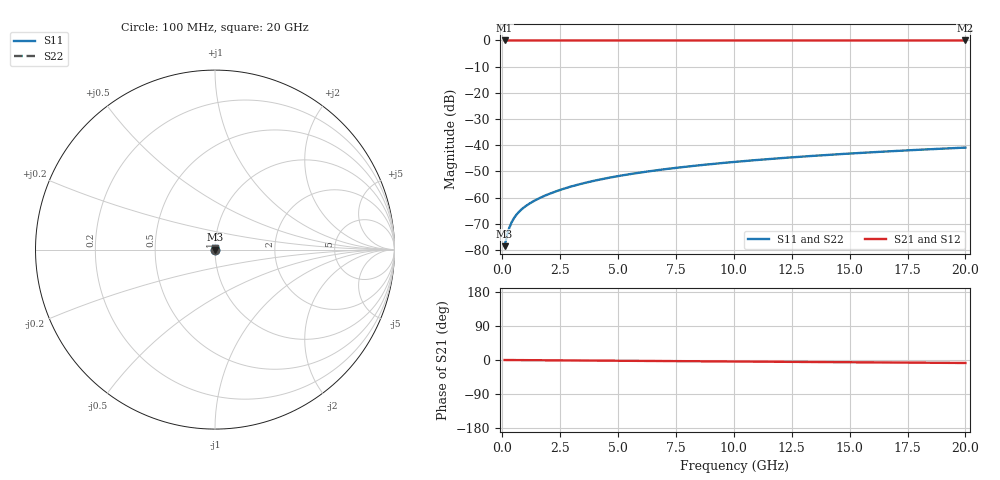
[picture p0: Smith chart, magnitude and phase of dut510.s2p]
! Touchstone file exported from HFSS 2026.1.0
!  File:  C:/ffzhzh/LocalFiles/Ansys_Project_Files/temp_train_TSV_510_1783023273_53980.aedt
!  Generated:  04:16:21 AM Jul  3, 2026
!  Design:  TSV
!  Project:  temp_train_TSV_510_1783023273_53980
! Variables:
!  h_bsmrdl = 2um
!  h_ox = 20um
!  h_rdl = 5um
!  h_sub = 75.7um
!  h_tmrdl = 5um
!  h_tsv = 75.7um
!  h_via = 3um
!  l_bsmrdl = 300um
!  l_sub = 425.48um
!  l_tmrdl = 200um
!  m_sub = 200um
!  pitch = 54.38um
!  r_tsv = 12.74um
!  s_tmrdl = 10um
!  w_bsmrdl = 18um
!  w_sub = 500um
!  w_tmrdl = 12um
!  x_tsv_center1 = 206um
!  x_tsv_center2 = 524um
!  x_tsv_center3 = 736um
!  x_tsv_center4 = 1054um
!  x_tsv_center5 = 1266um
!  x_tsv_center6 = 1584um
# GHz S MA R 50.000000
! Terminal data exported
! Port[1] = TSV1_1_T1
! Port[2] = TSV1_1_T2
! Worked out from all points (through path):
!   200 points, 100 MHz to 20 GHz, reference 50 ohm
!   highest |S21| = 0.00 dB at 100 MHz (marker M1); lowest = 0.0 dB at 20 GHz (marker M2)
!   group delay of S21, straight-line fit = 1.09 ps
!   lowest |S11| = -78.5 dB at 100 MHz (marker M3), VSWR 1.00, Z = 50 + j0.00836 ohm
!   |S11| at or under -10 dB: start of sweep to end of sweep
!   |S22| runs from -78.5 to -40.9 dB; largest |S21 - S12| = 4.1e-15
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0.1  0.000119 44.7  0.9999 -0.0  0.9999 -0.0  0.000119 44.7
! Gamma 0 0 0 0
! Port Impedance 50 0 50 0
0.2  0.0001905 59.5  0.9999 -0.1  0.9999 -0.1  0.0001905 59.5
0.3  0.0002655 64.5  0.9999 -0.1  0.9999 -0.1  0.0002655 64.5
0.4  0.0003373 66.4  0.9999 -0.2  0.9999 -0.2  0.0003373 66.4
0.5  0.0004045 67.2  0.9998 -0.2  0.9998 -0.2  0.0004045 67.2
0.6  0.0004672 67.6  0.9998 -0.2  0.9998 -0.2  0.0004672 67.6
0.7  0.0005259 67.9  0.9998 -0.3  0.9998 -0.3  0.0005259 67.9
0.9  0.0006346 68.4  0.9998 -0.4  0.9998 -0.4  0.0006346 68.4
1.1  0.0007362 69.2  0.9997 -0.4  0.9997 -0.4  0.0007362 69.2
1.3  0.0008342 70.0  0.9997 -0.5  0.9997 -0.5  0.0008342 70.0
1.6  0.0009787 71.2  0.9997 -0.6  0.9997 -0.6  0.0009787 71.2
1.9  0.001122 72.3  0.9997 -0.8  0.9997 -0.8  0.001122 72.3
2.6  0.001457 74.2  0.9996 -1.0  0.9996 -1.0  0.001457 74.2
3.5  0.001885 75.6  0.9996 -1.4  0.9996 -1.4  0.001885 75.6
4.2  0.002214 76.2  0.9995 -1.7  0.9995 -1.7  0.002214 76.3
5  0.002584 76.7  0.9995 -2.0  0.9995 -2.0  0.002584 76.7
6.8  0.003399 77.2  0.9994 -2.7  0.9994 -2.7  0.003398 77.2
8.3  0.004063 77.4  0.9993 -3.3  0.9993 -3.3  0.004063 77.4
10.1  0.004851 77.4  0.9993 -4.0  0.9993 -4.0  0.004851 77.4
13.4  0.006274 77.1  0.9991 -5.3  0.9991 -5.3  0.006274 77.1
16.7  0.007673 76.5  0.999 -6.6  0.999 -6.6  0.007673 76.5
20  0.009042 75.6  0.9989 -7.9  0.9989 -7.9  0.009042 75.6
